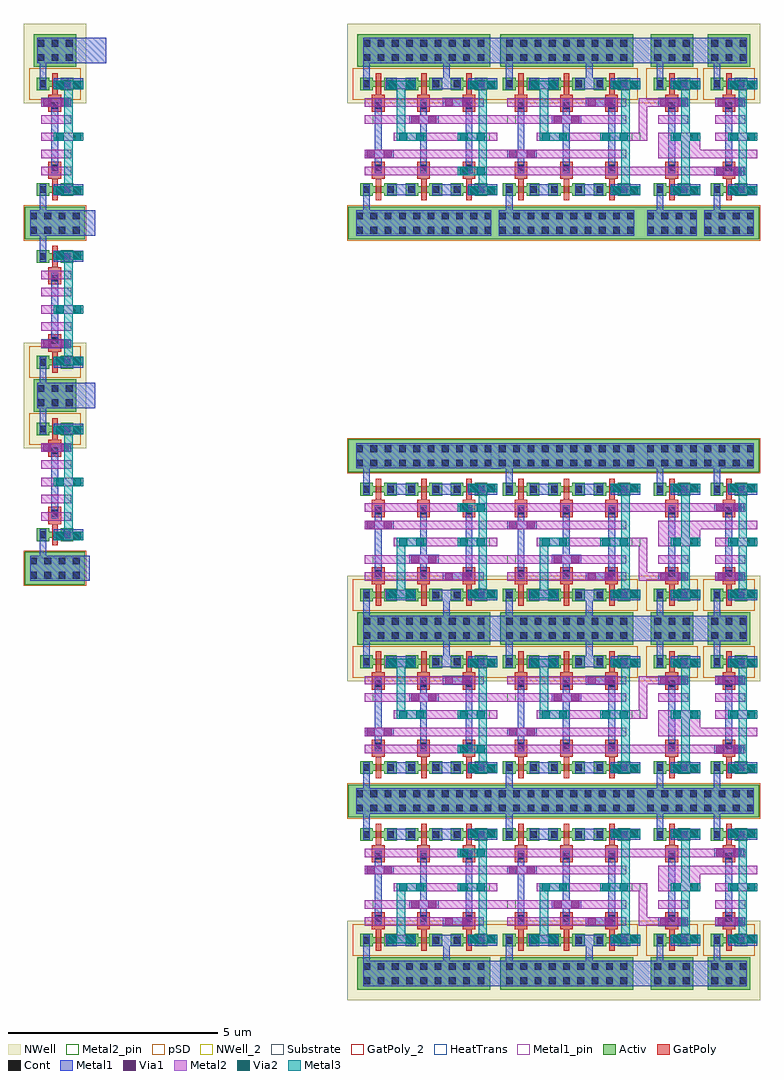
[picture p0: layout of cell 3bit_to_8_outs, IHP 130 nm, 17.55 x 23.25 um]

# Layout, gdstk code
from math import pi, radians
import gdstk
lib = gdstk.Library(unit=1e-6, precision=1e-09)
def R(c, l, rs):  # rectangles x0, y0, x1, y1
    for r in rs: c.add(gdstk.rectangle(r[:2], r[2:], *l))
def A(c, l, x, y, w, h, nx, ny, dx, dy):  # array of equal rectangles
    R(c, l, [(x+i*dx, y+j*dy, x+i*dx+w, y+j*dy+h) for i in range(nx) for j in range(ny)])
Activ = (1, 0)
GatPoly = (5, 0)
GatPoly_2 = (5, 2)
Cont = (6, 0)
Metal1 = (8, 0)
Metal1_pin = (8, 2)
Metal2 = (10, 0)
Metal2_pin = (10, 2)
pSD = (14, 0)
Via1 = (19, 0)
Via2 = (29, 0)
Metal3 = (30, 0)
NWell = (31, 0)
NWell_2 = (31, 2)
Substrate = (40, 0)
HeatTrans = (51, 0)

via_12 = lib.new_cell('Via$12')
R(via_12, Metal1, [(-0.35,-0.105,0.35,0.105)])
R(via_12, Metal2, [(-0.35,-0.1,0.35,0.1)])
R(via_12, Via1, [(-0.3,-0.095,-0.11,0.095), (0.11,-0.095,0.3,0.095)])

ntap1 = lib.new_cell('ntap1')
R(ntap1, Activ, [(0,0,3.17,0.78)])
A(ntap1, Cont, 0.145, 0.14, 0.16, 0.16, 9, 2, 0.34, 0.34)
R(ntap1, Metal1, [(0.145,0.09,3.025,0.69)])
R(ntap1, Metal1_pin, [(0.145,0.09,3.025,0.69), (0.145,0.14,3.025,0.64)])
R(ntap1, NWell, [(-0.24,-0.24,3.41,1.02), (0,0,3.17,0.78)])
R(ntap1, NWell_2, [(0,0,3.17,0.78)])
ntap1.add(gdstk.Label('well', (1.585,0.01), layer=63, texttype=0))
ntap1.add(gdstk.Label('well', (1.585,0.01), layer=31, texttype=0))

ptap1 = lib.new_cell('ptap1')
R(ptap1, Activ, [(0,0,3.59,0.78)])
A(ptap1, Cont, 0.185, 0.14, 0.16, 0.16, 10, 2, 0.34, 0.34)
R(ptap1, Metal1, [(0.185,0.09,3.405,0.69), (0.185,0.14,3.405,0.64)])
R(ptap1, Metal1_pin, [(0.185,0.14,3.405,0.64)])
R(ptap1, pSD, [(-0.03,-0.03,3.62,0.81)])
R(ptap1, Substrate, [(0,0,3.59,0.78)])
ptap1.add(gdstk.Label('sub!', (1.795,0.01), layer=63, texttype=0))
ptap1.add(gdstk.Label('sub!', (1.795,0.01), layer=40, texttype=0))

nmos = lib.new_cell('nmos')
R(nmos, Activ, [(0,0,0.3,0.3), (0.57,0,0.87,0.3), (0,0.075,0.87,0.225)])
R(nmos, GatPoly, [(0.37,-0.105,0.5,0.405)])
R(nmos, GatPoly_2, [(0.37,-0.105,0.5,0.405)])
R(nmos, Cont, [(0.07,0.07,0.23,0.23), (0.64,0.07,0.8,0.23)])
R(nmos, Metal1, [(0.07,0.02,0.23,0.28), (0.64,0.02,0.8,0.28)])
R(nmos, Metal1_pin, [(0.07,0.02,0.23,0.28), (0.64,0.02,0.8,0.28)])
R(nmos, HeatTrans, [(0.37,-0.105,0.5,0.405)])
nmos.add(gdstk.Label('nmos', (0.435,0.15), layer=63, texttype=0))
nmos.add(gdstk.Label('nmos', (0.435,0.15), layer=51, texttype=0))

pmos = lib.new_cell('pmos')
R(pmos, Activ, [(0,0,0.3,0.3), (0.57,0,0.87,0.3), (0,0.075,0.87,0.225)])
R(pmos, GatPoly, [(0.37,-0.105,0.5,0.405), (0.37,-0.105,0.5,0.405)])
R(pmos, Cont, [(0.07,0.07,0.23,0.23), (0.64,0.07,0.8,0.23)])
R(pmos, Metal1, [(0.07,0.02,0.23,0.28), (0.07,0.02,0.23,0.28), (0.64,0.02,0.8,0.28), (0.64,0.02,0.8,0.28)])
R(pmos, pSD, [(-0.18,-0.225,1.05,0.525)])
R(pmos, NWell, [(-0.31,-0.31,1.18,0.61)])
R(pmos, Substrate, [(0.57,0,0.87,0.3)])
R(pmos, HeatTrans, [(0.37,-0.105,0.5,0.405)])
pmos.add(gdstk.Label('pmos', (0.435,0.15), layer=63, texttype=0))
pmos.add(gdstk.Label('pmos', (0.435,0.15), layer=51, texttype=0))

via = lib.new_cell('Via')
R(via, GatPoly, [(-0.15,-0.15,0.15,0.15)])
R(via, Cont, [(-0.08,-0.08,0.08,0.08)])
R(via, Metal1, [(-0.13,-0.08,0.13,0.08)])

via_2 = lib.new_cell('Via$2')
R(via_2, Metal1, [(-0.105,-0.35,0.105,0.35)])
R(via_2, Metal2, [(-0.1,-0.35,0.1,0.35)])
R(via_2, Via1, [(-0.095,-0.3,0.095,-0.11), (-0.095,0.11,0.095,0.3)])

via_8 = lib.new_cell('Via$8')
R(via_8, Metal2, [(-0.35,-0.1,0.35,0.1)])
R(via_8, Via2, [(-0.3,-0.095,-0.11,0.095), (0.11,-0.095,0.3,0.095)])
R(via_8, Metal3, [(-0.35,-0.1,0.35,0.1)])

via_4 = lib.new_cell('Via$4')
R(via_4, Metal2, [(-0.1,-0.35,0.1,0.35)])
R(via_4, Via2, [(-0.095,-0.3,0.095,-0.11), (-0.095,0.11,0.095,0.3)])
R(via_4, Metal3, [(-0.1,-0.35,0.1,0.35)])

via_6 = lib.new_cell('Via$6')
R(via_6, Metal1, [(-0.35,-0.105,0.35,0.105)])
R(via_6, Metal2, [(-0.35,-0.1,0.35,0.1)])
R(via_6, Via1, [(-0.3,-0.095,-0.11,0.095), (0.11,-0.095,0.3,0.095)])

nand_3in = lib.new_cell('NAND_3in')
A(nand_3in, GatPoly, 9.375, 7.165, 0.3, 0.11, 3, 2, 1.08, 1.9)
R(nand_3in, Metal1, [(9.735,6.78,10.405,7.04), (10.815,6.78,11.485,7.04), (11.665,6.78,12.365,7.04), (9.72,9.3,10.42,9.56), (10.815,9.3,11.485,9.56), (11.665,9.3,12.365,9.56)])
R(nand_3in, Metal1_pin, [(9.16,6.015,9.36,6.215), (9.325,10.12,9.525,10.32)])
R(nand_3in, Metal2_pin, [(9.2,7.66,9.4,7.86), (12.165,8.07,12.365,8.27), (9.2,8.48,9.4,8.68), (9.2,8.89,9.4,9.09)])
nand_3in.add(gdstk.FlexPath([(11.685,7.555),(11.685,8.785)], 0.16, ends="flush", simple_path=True, layer=8, datatype=0))  # Metal1
nand_3in.add(gdstk.FlexPath([(11.15,9.56),(11.15,9.925)], 0.16, ends="flush", simple_path=True, layer=8, datatype=0))  # Metal1
nand_3in.add(gdstk.FlexPath([(9.245,9.56),(9.245,10.525)], 0.16, ends="flush", simple_path=True, layer=8, datatype=0))  # Metal1
nand_3in.add(gdstk.FlexPath([(9.245,6.78),(9.245,6.415)], 0.16, ends="flush", simple_path=True, layer=8, datatype=0))  # Metal1
nand_3in.add(gdstk.FlexPath([(9.525,7.555),(9.525,8.785)], 0.16, ends="flush", simple_path=True, layer=8, datatype=0))  # Metal1
nand_3in.add(gdstk.FlexPath([(10.605,7.555),(10.605,8.785)], 0.16, ends="flush", simple_path=True, layer=8, datatype=0))  # Metal1
nand_3in.add(gdstk.FlexPath([(9.9,8.17),(12.365,8.17)], 0.2, ends="flush", simple_path=True, layer=10, datatype=0))  # Metal2
nand_3in.add(gdstk.FlexPath([(11.81,9.405),(11.645,9.405)], 0.2, ends="flush", simple_path=True, layer=10, datatype=0))  # Metal2
nand_3in.add(gdstk.FlexPath([(11.81,6.885),(11.645,6.885)], 0.2, ends="flush", simple_path=True, layer=10, datatype=0))  # Metal2
nand_3in.add(gdstk.FlexPath([(9.2,7.76),(12.035,7.76)], 0.2, ends="flush", simple_path=True, layer=10, datatype=0))  # Metal2
nand_3in.add(gdstk.FlexPath([(9.2,7.35),(12.035,7.35)], 0.2, ends="flush", simple_path=True, layer=10, datatype=0))  # Metal2
nand_3in.add(gdstk.FlexPath([(9.2,8.99),(12.035,8.99)], 0.2, ends="flush", simple_path=True, layer=10, datatype=0))  # Metal2
nand_3in.add(gdstk.FlexPath([(9.2,8.58),(12.035,8.58)], 0.2, ends="flush", simple_path=True, layer=10, datatype=0))  # Metal2
nand_3in.add(gdstk.FlexPath([(9.865,9.405),(9.7,9.405)], 0.2, ends="flush", simple_path=True, layer=10, datatype=0))  # Metal2
nand_3in.add(gdstk.FlexPath([(10.43,8.58),(10.43,8.58)], 0.2, ends="flush", simple_path=True, layer=10, datatype=0))  # Metal2
nand_3in.add(gdstk.FlexPath([(12.015,6.885),(12.015,8.17)], 0.2, ends="flush", simple_path=True, layer=30, datatype=0))  # Metal3
nand_3in.add(gdstk.FlexPath([(12.015,9.405),(12.015,8.17)], 0.2, ends="flush", simple_path=True, layer=30, datatype=0))  # Metal3
nand_3in.add(gdstk.FlexPath([(10.07,9.305),(10.07,8.07)], 0.2, ends="flush", simple_path=True, layer=30, datatype=0))  # Metal3
nand_3in.add(gdstk.Reference(ntap1, (9.025,9.835)))
nand_3in.add(gdstk.Reference(ptap1, (8.815,5.725)))
nand_3in.add(gdstk.Reference(nmos, (10.175,6.76)))
nand_3in.add(gdstk.Reference(pmos, (10.175,9.28)))
nand_3in.add(gdstk.Reference(nmos, (9.095,6.76)))
nand_3in.add(gdstk.Reference(pmos, (9.095,9.28)))
nand_3in.add(gdstk.Reference(via, (9.525,8.915), rotation=pi/2))
nand_3in.add(gdstk.Reference(via, (10.605,8.915), rotation=pi/2))
nand_3in.add(gdstk.Reference(via, (10.605,7.425), rotation=3*pi/2))
nand_3in.add(gdstk.Reference(via, (9.525,7.425), rotation=3*pi/2))
nand_3in.add(gdstk.Reference(via_2, (10.61,8.58), rotation=3*pi/2))
nand_3in.add(gdstk.Reference(via_8, (10.32,8.17)))
nand_3in.add(gdstk.Reference(via_2, (10.07,9.405), rotation=3*pi/2))
nand_3in.add(gdstk.Reference(via_4, (10.07,9.405), rotation=3*pi/2))
nand_3in.add(gdstk.Reference(via_6, (11.415,8.99)))
nand_3in.add(gdstk.Reference(pmos, (11.255,9.28)))
nand_3in.add(gdstk.Reference(nmos, (11.255,6.76)))
nand_3in.add(gdstk.Reference(via, (11.685,8.915), rotation=pi/2))
nand_3in.add(gdstk.Reference(via, (11.685,7.425), rotation=3*pi/2))
nand_3in.add(gdstk.Reference(via_2, (9.55,7.76), rotation=3*pi/2))
nand_3in.add(gdstk.Reference(via_2, (12.015,9.405), rotation=3*pi/2))
nand_3in.add(gdstk.Reference(via_4, (12.015,9.405), rotation=3*pi/2))
nand_3in.add(gdstk.Reference(via_2, (12.015,6.885), rotation=3*pi/2))
nand_3in.add(gdstk.Reference(via_4, (12.015,6.885), rotation=3*pi/2))
nand_3in.add(gdstk.Reference(via_8, (11.765,8.17)))
nand_3in.add(gdstk.Label('c', (9.315,7.755), layer=10, texttype=25))
nand_3in.add(gdstk.Label('y', (12.265,8.17), layer=10, texttype=25))
nand_3in.add(gdstk.Label('b', (9.315,8.575), layer=10, texttype=25))
nand_3in.add(gdstk.Label('a', (9.3,8.99), layer=10, texttype=25))
nand_3in.add(gdstk.Label('VP', (9.295,10.22), layer=8, texttype=25))
nand_3in.add(gdstk.Label('GND', (9.26,6.115), layer=8, texttype=25))

via_11 = lib.new_cell('Via$11')
R(via_11, Metal2, [(-0.35,-0.1,0.35,0.1)])
R(via_11, Via2, [(-0.3,-0.095,-0.11,0.095), (0.11,-0.095,0.3,0.095)])
R(via_11, Metal3, [(-0.35,-0.1,0.35,0.1)])

via_4_1 = lib.new_cell('Via$4$1')
R(via_4_1, Metal2, [(-0.1,-0.35,0.1,0.35)])
R(via_4_1, Via2, [(-0.095,-0.3,0.095,-0.11), (-0.095,0.11,0.095,0.3)])
R(via_4_1, Metal3, [(-0.1,-0.35,0.1,0.35)])

ntap1_1 = lib.new_cell('ntap1$1')
R(ntap1_1, Activ, [(0,0,1.01,0.78)])
A(ntap1_1, Cont, 0.085, 0.14, 0.16, 0.16, 3, 2, 0.34, 0.34)
R(ntap1_1, Metal1, [(0.085,0.09,0.925,0.69)])
R(ntap1_1, Metal1_pin, [(0.085,0.09,0.925,0.69), (0.085,0.14,0.925,0.64)])
R(ntap1_1, NWell, [(-0.24,-0.24,1.25,1.02), (0,0,1.01,0.78)])
R(ntap1_1, NWell_2, [(0,0,1.01,0.78)])
ntap1_1.add(gdstk.Label('well', (0.505,0.01), layer=63, texttype=0))
ntap1_1.add(gdstk.Label('well', (0.505,0.01), layer=31, texttype=0))

ptap1_1 = lib.new_cell('ptap1$1')
R(ptap1_1, Activ, [(0,0,1.43,0.78)])
A(ptap1_1, Cont, 0.125, 0.14, 0.16, 0.16, 4, 2, 0.34, 0.34)
R(ptap1_1, Metal1, [(0.125,0.09,1.305,0.69), (0.125,0.14,1.305,0.64)])
R(ptap1_1, Metal1_pin, [(0.125,0.14,1.305,0.64)])
R(ptap1_1, pSD, [(-0.03,-0.03,1.46,0.81)])
R(ptap1_1, Substrate, [(0,0,1.43,0.78)])
ptap1_1.add(gdstk.Label('sub!', (0.715,0.01), layer=63, texttype=0))
ptap1_1.add(gdstk.Label('sub!', (0.715,0.01), layer=40, texttype=0))

via_2_1 = lib.new_cell('Via$2$1')
R(via_2_1, Metal1, [(-0.105,-0.35,0.105,0.35)])
R(via_2_1, Metal2, [(-0.1,-0.35,0.1,0.35)])
R(via_2_1, Via1, [(-0.095,-0.3,0.095,-0.11), (-0.095,0.11,0.095,0.3)])

nmos_1 = lib.new_cell('nmos$1')
R(nmos_1, Activ, [(0,0,0.3,0.3), (0.57,0,0.87,0.3), (0,0.075,0.87,0.225)])
R(nmos_1, GatPoly, [(0.37,-0.105,0.5,0.405)])
R(nmos_1, GatPoly_2, [(0.37,-0.105,0.5,0.405)])
R(nmos_1, Cont, [(0.07,0.07,0.23,0.23), (0.64,0.07,0.8,0.23)])
R(nmos_1, Metal1, [(0.07,0.02,0.23,0.28), (0.64,0.02,0.8,0.28)])
R(nmos_1, Metal1_pin, [(0.07,0.02,0.23,0.28), (0.64,0.02,0.8,0.28)])
R(nmos_1, HeatTrans, [(0.37,-0.105,0.5,0.405)])
nmos_1.add(gdstk.Label('nmos', (0.435,0.15), layer=63, texttype=0))
nmos_1.add(gdstk.Label('nmos', (0.435,0.15), layer=51, texttype=0))

pmos_1 = lib.new_cell('pmos$1')
R(pmos_1, Activ, [(0,0,0.3,0.3), (0.57,0,0.87,0.3), (0,0.075,0.87,0.225)])
R(pmos_1, GatPoly, [(0.37,-0.105,0.5,0.405), (0.37,-0.105,0.5,0.405)])
R(pmos_1, Cont, [(0.07,0.07,0.23,0.23), (0.64,0.07,0.8,0.23)])
R(pmos_1, Metal1, [(0.07,0.02,0.23,0.28), (0.07,0.02,0.23,0.28), (0.64,0.02,0.8,0.28), (0.64,0.02,0.8,0.28)])
R(pmos_1, pSD, [(-0.18,-0.225,1.05,0.525)])
R(pmos_1, NWell, [(-0.31,-0.31,1.18,0.61)])
R(pmos_1, Substrate, [(0.57,0,0.87,0.3)])
R(pmos_1, HeatTrans, [(0.37,-0.105,0.5,0.405)])
pmos_1.add(gdstk.Label('pmos', (0.435,0.15), layer=63, texttype=0))
pmos_1.add(gdstk.Label('pmos', (0.435,0.15), layer=51, texttype=0))

via_9 = lib.new_cell('Via$9')
R(via_9, GatPoly, [(-0.15,-0.15,0.15,0.15)])
R(via_9, Cont, [(-0.08,-0.08,0.08,0.08)])
R(via_9, Metal1, [(-0.13,-0.08,0.13,0.08)])

via_7 = lib.new_cell('Via$7')
R(via_7, Metal2, [(-0.35,-0.1,0.35,0.1)])
R(via_7, Via2, [(-0.3,-0.095,-0.11,0.095), (0.11,-0.095,0.3,0.095)])
R(via_7, Metal3, [(-0.35,-0.1,0.35,0.1)])

inverter = lib.new_cell('inverter')
R(inverter, GatPoly, [(9.375,7.165,9.675,7.275), (9.375,9.065,9.675,9.175)])
R(inverter, Metal1, [(9.505,6.78,10.205,7.04), (9.505,9.3,10.205,9.56)])
R(inverter, Metal1_pin, [(9.16,6.015,9.36,6.215), (9.325,10.12,9.525,10.32)])
R(inverter, Metal2_pin, [(10.005,8.07,10.205,8.27), (9.2,8.89,9.4,9.09)])
inverter.add(gdstk.FlexPath([(9.245,9.56),(9.245,10.525)], 0.16, ends="flush", simple_path=True, layer=8, datatype=0))  # Metal1
inverter.add(gdstk.FlexPath([(9.245,6.78),(9.245,6.415)], 0.16, ends="flush", simple_path=True, layer=8, datatype=0))  # Metal1
inverter.add(gdstk.FlexPath([(9.525,7.555),(9.525,8.785)], 0.16, ends="flush", simple_path=True, layer=8, datatype=0))  # Metal1
inverter.add(gdstk.FlexPath([(9.65,9.405),(9.485,9.405)], 0.2, ends="flush", simple_path=True, layer=10, datatype=0))  # Metal2
inverter.add(gdstk.FlexPath([(9.65,6.885),(9.485,6.885)], 0.2, ends="flush", simple_path=True, layer=10, datatype=0))  # Metal2
inverter.add(gdstk.FlexPath([(9.2,8.99),(9.92,8.99)], 0.2, ends="flush", simple_path=True, layer=10, datatype=0))  # Metal2
inverter.add(gdstk.FlexPath([(9.2,8.58),(9.92,8.58)], 0.2, ends="flush", simple_path=True, layer=10, datatype=0))  # Metal2
inverter.add(gdstk.FlexPath([(9.2,7.76),(9.92,7.76)], 0.2, ends="flush", simple_path=True, layer=10, datatype=0))  # Metal2
inverter.add(gdstk.FlexPath([(9.2,7.35),(9.92,7.35)], 0.2, ends="flush", simple_path=True, layer=10, datatype=0))  # Metal2
inverter.add(gdstk.FlexPath([(9.2,8.17),(10.205,8.17)], 0.2, ends="flush", simple_path=True, layer=10, datatype=0))  # Metal2
inverter.add(gdstk.FlexPath([(9.855,6.885),(9.855,8.17)], 0.2, ends="flush", simple_path=True, layer=30, datatype=0))  # Metal3
inverter.add(gdstk.FlexPath([(9.855,9.405),(9.855,8.17)], 0.2, ends="flush", simple_path=True, layer=30, datatype=0))  # Metal3
inverter.add(gdstk.Reference(via_4_1, (9.855,6.885), rotation=3*pi/2))
inverter.add(gdstk.Reference(ntap1_1, (9.025,9.835)))
inverter.add(gdstk.Reference(ptap1_1, (8.815,5.725)))
inverter.add(gdstk.Reference(via_2_1, (9.855,6.885), rotation=3*pi/2))
inverter.add(gdstk.Reference(nmos_1, (9.095,6.76)))
inverter.add(gdstk.Reference(pmos_1, (9.095,9.28)))
inverter.add(gdstk.Reference(via_9, (9.525,8.915), rotation=pi/2))
inverter.add(gdstk.Reference(via_9, (9.525,7.425), rotation=3*pi/2))
inverter.add(gdstk.Reference(via_4_1, (9.855,9.405), rotation=3*pi/2))
inverter.add(gdstk.Reference(via_2_1, (9.555,8.99), rotation=3*pi/2))
inverter.add(gdstk.Reference(via_2_1, (9.855,9.405), rotation=3*pi/2))
inverter.add(gdstk.Reference(via_7, (9.855,8.17)))
inverter.add(gdstk.Label('out', (10.105,8.17), layer=10, texttype=25))
inverter.add(gdstk.Label('in', (9.3,8.99), layer=10, texttype=25))
inverter.add(gdstk.Label('VP', (9.295,10.22), layer=8, texttype=25))
inverter.add(gdstk.Label('GND', (9.26,6.115), layer=8, texttype=25))

c_3bit_to_8_outs = lib.new_cell('3bit_to_8_outs')
R(c_3bit_to_8_outs, Metal1, [(12.405,4.56,12.925,5.165), (15.805,4.56,17.815,5.16), (12.575,8.665,12.8,9.27), (12.575,8.67,12.8,9.275), (15.975,8.67,17.695,9.27), (15.975,8.67,17.695,9.27), (12.405,12.775,12.925,13.38), (12.405,12.78,12.925,13.385), (15.805,12.78,17.815,13.38), (15.805,12.78,17.815,13.38), (2.765,14.215,3.005,14.81), (12.575,16.885,12.8,17.49), (12.575,16.89,12.8,17.495), (15.975,16.89,17.695,17.49), (15.975,16.89,17.695,17.49), (2.6,18.325,3.145,18.925), (2.765,22.435,3.145,23.035), (12.405,26.54,12.925,27.145), (2.6,26.545,3.405,27.145), (15.805,26.545,17.815,27.145)])
R(c_3bit_to_8_outs, Metal2, [(16.545,6.815,17.55,7.425), (16.545,10.515,17.55,11.125), (16.545,15.035,17.55,15.645), (16.545,24.28,17.55,24.89)])
c_3bit_to_8_outs.add(gdstk.FlexPath([(18.625,24.38),(18.91,24.38)], 0.2, ends="flush", simple_path=True, layer=10, datatype=0))  # Metal2
c_3bit_to_8_outs.add(gdstk.FlexPath([(17.265,24.38),(17.905,24.38)], 0.2, ends="flush", simple_path=True, layer=10, datatype=0))  # Metal2
c_3bit_to_8_outs.add(gdstk.FlexPath([(16.02,24.79),(16.185,24.79),(16.185,25.61),(16.645,25.61)], 0.2, ends="flush", simple_path=True, layer=10, datatype=0))  # Metal2
c_3bit_to_8_outs.add(gdstk.FlexPath([(16.545,23.97),(15.79,23.97)], 0.2, ends="flush", simple_path=True, layer=10, datatype=0))  # Metal2
c_3bit_to_8_outs.add(gdstk.FlexPath([(17.265,23.97),(17.905,23.97)], 0.2, ends="flush", simple_path=True, layer=10, datatype=0))  # Metal2
c_3bit_to_8_outs.add(gdstk.FlexPath([(18.23,23.965),(18.23,23.965)], 0.2, ends="flush", simple_path=True, layer=10, datatype=0))  # Metal2
c_3bit_to_8_outs.add(gdstk.FlexPath([(18.625,15.545),(18.91,15.545)], 0.2, ends="flush", simple_path=True, layer=10, datatype=0))  # Metal2
c_3bit_to_8_outs.add(gdstk.FlexPath([(17.265,15.545),(17.905,15.545)], 0.2, ends="flush", simple_path=True, layer=10, datatype=0))  # Metal2
c_3bit_to_8_outs.add(gdstk.FlexPath([(16.02,15.135),(16.185,15.135),(16.185,14.315),(16.645,14.315)], 0.2, ends="flush", simple_path=True, layer=10, datatype=0))  # Metal2
c_3bit_to_8_outs.add(gdstk.FlexPath([(16.545,15.955),(15.79,15.955)], 0.2, ends="flush", simple_path=True, layer=10, datatype=0))  # Metal2
c_3bit_to_8_outs.add(gdstk.FlexPath([(17.265,15.955),(17.905,15.955)], 0.2, ends="flush", simple_path=True, layer=10, datatype=0))  # Metal2
c_3bit_to_8_outs.add(gdstk.FlexPath([(18.23,15.96),(18.23,15.96)], 0.2, ends="flush", simple_path=True, layer=10, datatype=0))  # Metal2
c_3bit_to_8_outs.add(gdstk.FlexPath([(12.39,15.545),(13.005,15.545)], 0.2, ends="flush", simple_path=True, layer=10, datatype=0))  # Metal2
c_3bit_to_8_outs.add(gdstk.FlexPath([(12.39,14.725),(13.005,14.725)], 0.2, ends="flush", simple_path=True, layer=10, datatype=0))  # Metal2
c_3bit_to_8_outs.add(gdstk.FlexPath([(12.3,15.955),(12.3,15.955)], 0.2, ends="flush", simple_path=True, layer=10, datatype=0))  # Metal2
c_3bit_to_8_outs.add(gdstk.FlexPath([(12.47,15.955),(12.955,15.955)], 0.2, ends="flush", simple_path=True, layer=10, datatype=0))  # Metal2
c_3bit_to_8_outs.add(gdstk.FlexPath([(18.625,10.615),(18.91,10.615)], 0.2, ends="flush", simple_path=True, layer=10, datatype=0))  # Metal2
c_3bit_to_8_outs.add(gdstk.FlexPath([(17.265,10.615),(17.905,10.615)], 0.2, ends="flush", simple_path=True, layer=10, datatype=0))  # Metal2
c_3bit_to_8_outs.add(gdstk.FlexPath([(16.02,11.025),(16.185,11.025),(16.185,11.845),(16.645,11.845)], 0.2, ends="flush", simple_path=True, layer=10, datatype=0))  # Metal2
c_3bit_to_8_outs.add(gdstk.FlexPath([(16.545,10.205),(15.79,10.205)], 0.2, ends="flush", simple_path=True, layer=10, datatype=0))  # Metal2
c_3bit_to_8_outs.add(gdstk.FlexPath([(17.265,10.205),(17.905,10.205)], 0.2, ends="flush", simple_path=True, layer=10, datatype=0))  # Metal2
c_3bit_to_8_outs.add(gdstk.FlexPath([(18.23,10.2),(18.23,10.2)], 0.2, ends="flush", simple_path=True, layer=10, datatype=0))  # Metal2
c_3bit_to_8_outs.add(gdstk.FlexPath([(18.625,7.325),(18.91,7.325)], 0.2, ends="flush", simple_path=True, layer=10, datatype=0))  # Metal2
c_3bit_to_8_outs.add(gdstk.FlexPath([(17.265,7.325),(17.905,7.325)], 0.2, ends="flush", simple_path=True, layer=10, datatype=0))  # Metal2
c_3bit_to_8_outs.add(gdstk.FlexPath([(16.02,6.915),(16.185,6.915),(16.185,6.095),(16.645,6.095)], 0.2, ends="flush", simple_path=True, layer=10, datatype=0))  # Metal2
c_3bit_to_8_outs.add(gdstk.FlexPath([(16.545,7.735),(15.79,7.735)], 0.2, ends="flush", simple_path=True, layer=10, datatype=0))  # Metal2
c_3bit_to_8_outs.add(gdstk.FlexPath([(17.265,7.735),(17.905,7.735)], 0.2, ends="flush", simple_path=True, layer=10, datatype=0))  # Metal2
c_3bit_to_8_outs.add(gdstk.FlexPath([(18.23,7.74),(18.23,7.74)], 0.2, ends="flush", simple_path=True, layer=10, datatype=0))  # Metal2
c_3bit_to_8_outs.add(gdstk.FlexPath([(12.39,7.325),(13.005,7.325)], 0.2, ends="flush", simple_path=True, layer=10, datatype=0))  # Metal2
c_3bit_to_8_outs.add(gdstk.FlexPath([(12.39,6.505),(13.005,6.505)], 0.2, ends="flush", simple_path=True, layer=10, datatype=0))  # Metal2
c_3bit_to_8_outs.add(gdstk.FlexPath([(12.3,7.735),(12.3,7.735)], 0.2, ends="flush", simple_path=True, layer=10, datatype=0))  # Metal2
c_3bit_to_8_outs.add(gdstk.FlexPath([(12.47,7.735),(12.955,7.735)], 0.2, ends="flush", simple_path=True, layer=10, datatype=0))  # Metal2
c_3bit_to_8_outs.add(gdstk.FlexPath([(12.39,10.615),(13.005,10.615)], 0.2, ends="flush", simple_path=True, layer=10, datatype=0))  # Metal2
c_3bit_to_8_outs.add(gdstk.FlexPath([(12.39,11.435),(13.005,11.435)], 0.2, ends="flush", simple_path=True, layer=10, datatype=0))  # Metal2
c_3bit_to_8_outs.add(gdstk.FlexPath([(12.3,10.205),(12.3,10.205)], 0.2, ends="flush", simple_path=True, layer=10, datatype=0))  # Metal2
c_3bit_to_8_outs.add(gdstk.FlexPath([(12.47,10.205),(12.955,10.205)], 0.2, ends="flush", simple_path=True, layer=10, datatype=0))  # Metal2
c_3bit_to_8_outs.add(gdstk.FlexPath([(12.39,24.38),(13.005,24.38)], 0.2, ends="flush", simple_path=True, layer=10, datatype=0))  # Metal2
c_3bit_to_8_outs.add(gdstk.FlexPath([(12.39,25.2),(13.005,25.2)], 0.2, ends="flush", simple_path=True, layer=10, datatype=0))  # Metal2
c_3bit_to_8_outs.add(gdstk.FlexPath([(12.3,23.97),(12.3,23.97)], 0.2, ends="flush", simple_path=True, layer=10, datatype=0))  # Metal2
c_3bit_to_8_outs.add(gdstk.FlexPath([(12.47,23.97),(12.955,23.97)], 0.2, ends="flush", simple_path=True, layer=10, datatype=0))  # Metal2
c_3bit_to_8_outs.add(gdstk.Reference(via_12, (18.23,15.96), x_reflection=True))
c_3bit_to_8_outs.add(gdstk.Reference(nand_3in, (0.355,23.305), x_reflection=True))
c_3bit_to_8_outs.add(gdstk.Reference(via_11, (12.12,15.955), x_reflection=True))
c_3bit_to_8_outs.add(gdstk.Reference(inverter, (8.705,23.305), x_reflection=True))
c_3bit_to_8_outs.add(gdstk.Reference(inverter, (7.345,23.305), x_reflection=True))
c_3bit_to_8_outs.add(gdstk.Reference(nand_3in, (3.755,23.305), x_reflection=True))
c_3bit_to_8_outs.add(gdstk.Reference(via_12, (18.23,7.74), x_reflection=True))
c_3bit_to_8_outs.add(gdstk.Reference(nand_3in, (0.355,15.085), x_reflection=True))
c_3bit_to_8_outs.add(gdstk.Reference(via_11, (12.12,7.735), x_reflection=True))
c_3bit_to_8_outs.add(gdstk.Reference(inverter, (8.705,15.085), x_reflection=True))
c_3bit_to_8_outs.add(gdstk.Reference(inverter, (7.345,15.085), x_reflection=True))
c_3bit_to_8_outs.add(gdstk.Reference(nand_3in, (3.755,15.085), x_reflection=True))
c_3bit_to_8_outs.add(gdstk.Reference(via_12, (18.23,10.2)))
c_3bit_to_8_outs.add(gdstk.Reference(inverter, (-7.35,28.85), x_reflection=True))
c_3bit_to_8_outs.add(gdstk.Reference(inverter, (-7.35,16.62)))
c_3bit_to_8_outs.add(gdstk.Reference(via_12, (18.23,23.965)))
c_3bit_to_8_outs.add(gdstk.Reference(nand_3in, (0.355,16.62)))
c_3bit_to_8_outs.add(gdstk.Reference(via_11, (12.12,23.97)))
c_3bit_to_8_outs.add(gdstk.Reference(inverter, (8.705,16.62)))
c_3bit_to_8_outs.add(gdstk.Reference(inverter, (7.345,16.62)))
c_3bit_to_8_outs.add(gdstk.Reference(nand_3in, (3.755,16.62)))
c_3bit_to_8_outs.add(gdstk.Reference(nand_3in, (0.355,2.855)))
c_3bit_to_8_outs.add(gdstk.Reference(via_11, (12.12,10.205)))
c_3bit_to_8_outs.add(gdstk.Reference(inverter, (8.705,2.855)))
c_3bit_to_8_outs.add(gdstk.Reference(inverter, (7.345,2.855)))
c_3bit_to_8_outs.add(gdstk.Reference(nand_3in, (3.755,2.855)))
c_3bit_to_8_outs.add(gdstk.Reference(inverter, (-7.35,8.4)))

lib.write_gds('3bit_to_8_outs.gds')
